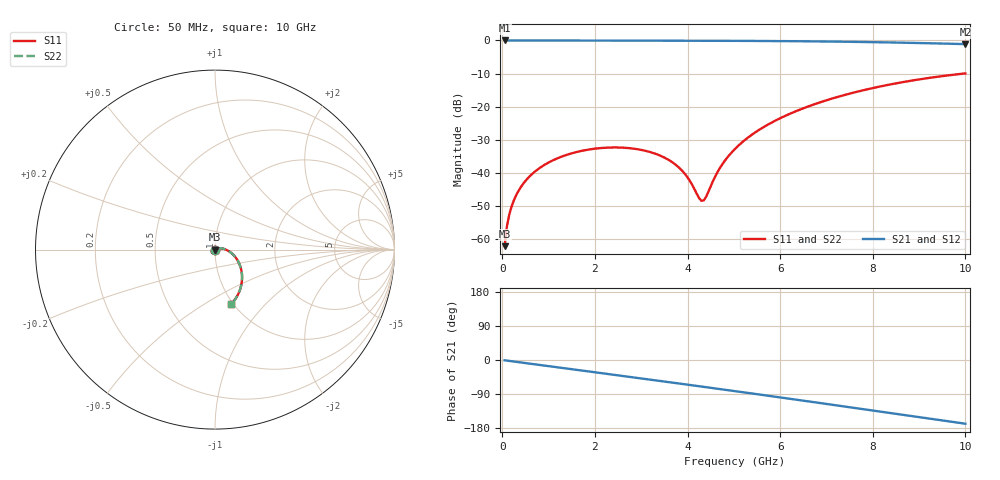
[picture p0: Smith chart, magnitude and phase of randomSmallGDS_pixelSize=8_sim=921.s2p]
! freq	dB(S11)	phase(S11)	dB(S12)	phase(S12)
!  dB(S21)	phase(S21)	dB(S22)	phase(S22)
!S-par simulation data
#  GHz  S  DB  R 50
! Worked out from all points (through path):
!   200 points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, 50 MHz to 10 GHz, reference 50 ohm
!   highest |S21| = 0.00 dB at 50 MHz (marker M1); lowest = -1.1 dB at 10 GHz (marker M2)
!   group delay of S21, straight-line fit = 46.8 ps
!   lowest |S11| = -62.1 dB at 50 MHz (marker M3), VSWR 1.00, Z = 50 - j0.0785 ohm
!   |S11| at or under -10 dB: start of sweep to 9.966 GHz
!   |S22| runs from -62.1 to -9.9 dB; largest |S21 - S12| = 0
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0.05  -62.10 -89.7  -0.00 -0.8  -0.00 -0.8  -62.10 -89.7
0.1  -56.10 -91.5  -0.00 -1.6  -0.00 -1.6  -56.10 -91.5
0.2  -50.15 -93.9  -0.00 -3.3  -0.00 -3.3  -50.15 -93.9
0.35  -45.40 -96.7  -0.00 -5.7  -0.00 -5.7  -45.40 -96.7
0.5  -42.40 -99.3  -0.01 -8.1  -0.01 -8.1  -42.40 -99.3
0.7  -39.64 -102.7  -0.01 -11.4  -0.01 -11.4  -39.64 -102.7
1  -36.84 -107.9  -0.02 -16.2  -0.02 -16.2  -36.84 -107.9
1.75  -33.22 -121.0  -0.03 -28.3  -0.03 -28.3  -33.22 -121.0
2.65  -32.40 -137.2  -0.05 -42.9  -0.05 -42.9  -32.40 -137.3
3.4  -34.71 -153.1  -0.06 -55.2  -0.06 -55.2  -34.70 -153.2
3.7  -37.05 -161.9  -0.07 -60.1  -0.07 -60.1  -37.04 -162.1
3.9  -39.57 -170.7  -0.08 -63.4  -0.08 -63.4  -39.56 -171.0
4.3  -48.40 120.9  -0.09 -70.0  -0.09 -70.0  -48.27 120.7
4.4  -47.23 81.5  -0.09 -71.7  -0.09 -71.7  -47.11 81.9
4.6  -41.00 42.8  -0.10 -75.0  -0.10 -75.0  -40.96 43.2
4.75  -37.41 31.5  -0.11 -77.5  -0.11 -77.5  -37.39 31.8
5.05  -32.39 19.3  -0.12 -82.6  -0.12 -82.6  -32.38 19.5
5.75  -25.29 2.3  -0.17 -94.4  -0.17 -94.4  -25.29 2.4
6.7  -19.45 -16.0  -0.27 -110.8  -0.27 -110.8  -19.45 -15.9
8.35  -13.35 -45.4  -0.59 -139.5  -0.59 -139.5  -13.35 -45.4
9.2  -11.34 -60.1  -0.84 -154.3  -0.84 -154.3  -11.34 -60.1
10  -9.95 -73.6  -1.10 -168.1  -1.10 -168.1  -9.95 -73.6
